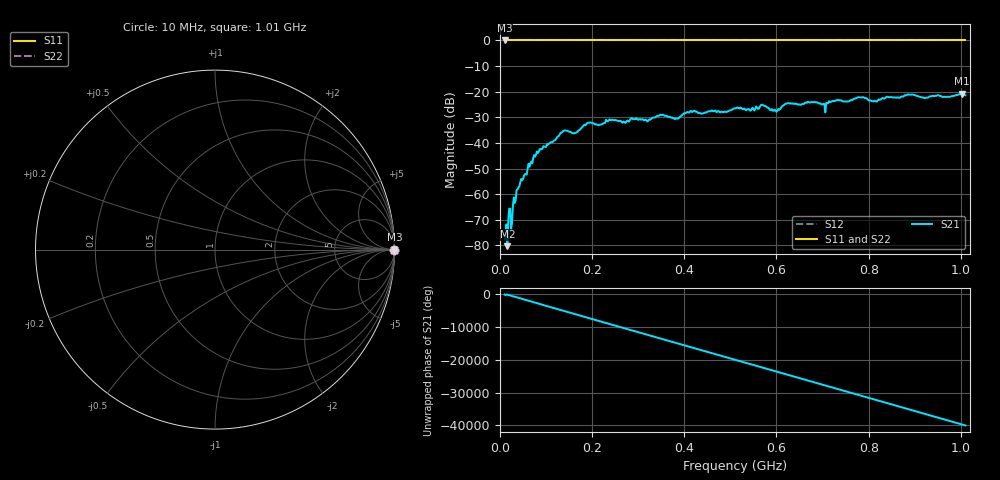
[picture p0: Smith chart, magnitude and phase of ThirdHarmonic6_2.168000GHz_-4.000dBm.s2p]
! 8/17/2025 1:52:05 AM
! C:\ANRITSUVNA\TEMP\TEMP.S2P
! CHANNEL.1
! TR.MEASUREMENT
! RAW.DATA
! RF.CORRECTION.OFF
! AVERAGING.OFF
! IF.BANDWIDTH: 5KHZ
! SWEEPTYPE:  FREQ.SWEEP(Linear)
! Reference Plane Port Info
! PORT:  PORT1  PORT2
! DISTANCE:  0  m  0  m
! TIME:  0  s  0  s
! PHASE.OFFSET:  0  deg.  0  deg.
! LOSS:  0  dB  0  dB
! REF.LOSS:  0  dB  0  dB
! REF.FREQ:  0  Hz  0  Hz
! Power Info
! POWER:  -20  dBm  -20  dBm
! EFF.POWER:  -20  dBm  -20  dBm
! SOURCE.ATTEN:  0  dB  0  dB
! TEST.ATTEN:  0  dB  0  dB
# GHZ S RI R 50.0
! FREQ.GHZ  S11RE  S11IM  S21RE  S21IM  S12RE  S12IM  S22RE  S22IM
!; PortSelection: Port_12
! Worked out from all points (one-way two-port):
!   501 points, 10 MHz to 1.01 GHz, reference 50 ohm
!   highest |S21| = -20.75 dB at 1.002 GHz (marker M1); lowest = -80.3 dB at 16 MHz (marker M2)
!   lowest |S11| = 0.0 dB at 10 MHz (marker M3)
!   |S11| at or under -10 dB: nowhere
!   |S22| runs from 0.0 to 0.0 dB; largest |S21 - S12| = 1.1
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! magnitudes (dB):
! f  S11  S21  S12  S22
! 10 MHz  0.0  -76.6  0.0  0.0
! 12 MHz  0.0  -77.6  0.0  0.0
! 16 MHz  0.0  -80.3  0.0  0.0
! 28 MHz  0.0  -64.6  0.0  0.0
! 32 MHz  0.0  -63.4  0.0  0.0
! 40 MHz  0.0  -57.4  0.0  0.0
! 76 MHz  0.0  -45.4  0.0  0.0
! 136 MHz  0.0  -35.6  0.0  0.0
! 162 MHz  0.0  -36.2  0.0  0.0
! 178 MHz  0.0  -33.9  0.0  0.0
! 344 MHz  0.0  -29.4  0.0  0.0
! 384 MHz  0.0  -30.4  0.0  0.0
! 410 MHz  0.0  -28.2  0.0  0.0
! 510 MHz  0.0  -26.5  0.0  0.0
! 570 MHz  0.0  -25.2  0.0  0.0
! 598 MHz  0.0  -27.4  0.0  0.0
! 622 MHz  0.0  -24.7  0.0  0.0
! 678 MHz  0.0  -24.0  0.0  0.0
! 702 MHz  0.0  -24.7  0.0  0.0
! 844 MHz  0.0  -22.1  0.0  0.0
! 1.002 GHz  0.0  -20.7  0.0  0.0
! 1.01 GHz  0.0  -21.4  0.0  0.0
